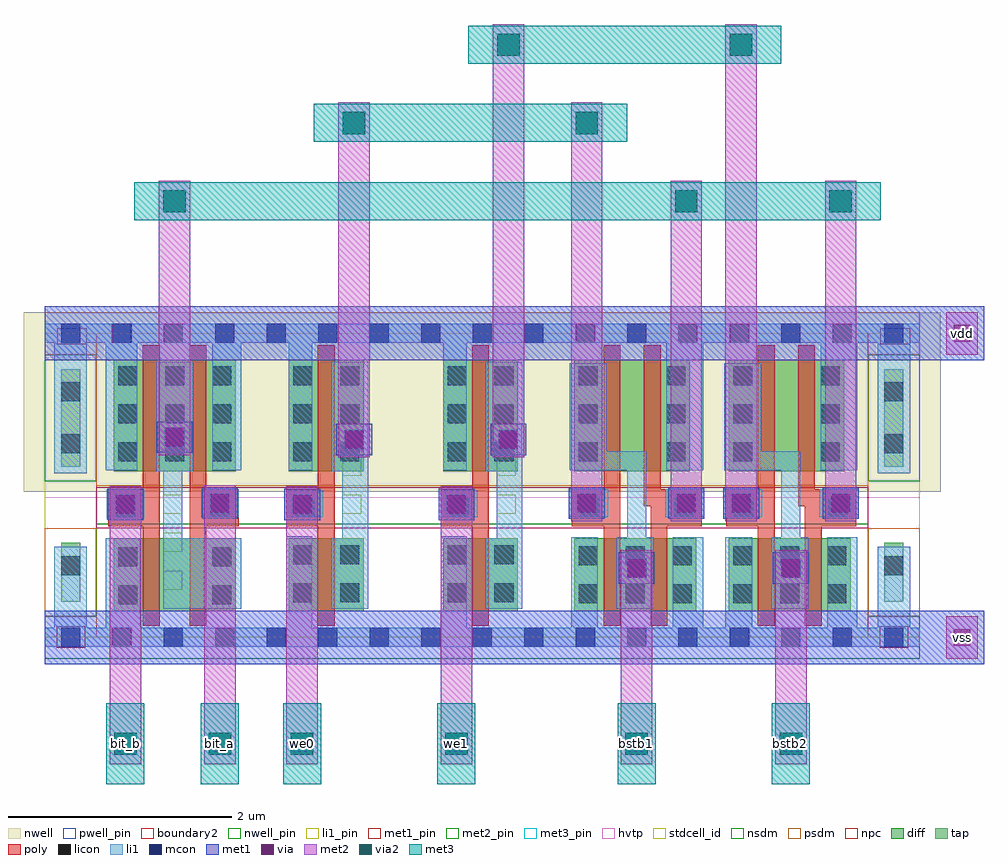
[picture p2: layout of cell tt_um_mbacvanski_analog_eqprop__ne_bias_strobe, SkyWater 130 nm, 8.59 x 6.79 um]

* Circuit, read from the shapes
.subckt tt_um_mbacvanski_analog_eqprop__ne_bias_strobe bit_a bit_b bstb1 bstb2 vdd vss we0 we1
XM1 n1 bit_b vss vss sky130_fd_pr__nfet_01v8 w=0.65 l=0.15
XM2 sky130_fd_sc_hd__nor2_1_0/A bit_a n1 vss sky130_fd_pr__nfet_01v8 w=0.65 l=0.15
XM3 sky130_fd_sc_hd__nor2_1_0/B we0 vss vss sky130_fd_pr__nfet_01v8 w=0.65 l=0.15
XM4 sky130_fd_sc_hd__nor2_1_1/B we1 vss vss sky130_fd_pr__nfet_01v8 w=0.65 l=0.15
XM5 bstb1 sky130_fd_sc_hd__nor2_1_0/B vss vss sky130_fd_pr__nfet_01v8 w=0.65 l=0.15
XM6 vss sky130_fd_sc_hd__nor2_1_0/A bstb1 vss sky130_fd_pr__nfet_01v8 w=0.65 l=0.15
XM7 bstb2 sky130_fd_sc_hd__nor2_1_1/B vss vss sky130_fd_pr__nfet_01v8 w=0.65 l=0.15
XM8 vss sky130_fd_sc_hd__nor2_1_0/A bstb2 vss sky130_fd_pr__nfet_01v8 w=0.65 l=0.15
XM9 sky130_fd_sc_hd__nor2_1_0/A bit_b vdd vdd sky130_fd_pr__pfet_01v8_hvt w=1 l=0.15
XM10 vdd bit_a sky130_fd_sc_hd__nor2_1_0/A vdd sky130_fd_pr__pfet_01v8_hvt w=1 l=0.15
XM11 sky130_fd_sc_hd__nor2_1_0/B we0 vdd vdd sky130_fd_pr__pfet_01v8_hvt w=1 l=0.15
XM12 sky130_fd_sc_hd__nor2_1_1/B we1 vdd vdd sky130_fd_pr__pfet_01v8_hvt w=1 l=0.15
XM13 n2 sky130_fd_sc_hd__nor2_1_0/B bstb1 vdd sky130_fd_pr__pfet_01v8_hvt w=1 l=0.15
XM14 vdd sky130_fd_sc_hd__nor2_1_0/A n2 vdd sky130_fd_pr__pfet_01v8_hvt w=1 l=0.15
XM15 n3 sky130_fd_sc_hd__nor2_1_1/B bstb2 vdd sky130_fd_pr__pfet_01v8_hvt w=1 l=0.15
XM16 vdd sky130_fd_sc_hd__nor2_1_0/A n3 vdd sky130_fd_pr__pfet_01v8_hvt w=1 l=0.15
.ends

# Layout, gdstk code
import gdstk
lib = gdstk.Library(unit=1e-6, precision=1e-09)
def R(c, l, rs):  # rectangles x0, y0, x1, y1
    for r in rs: c.add(gdstk.rectangle(r[:2], r[2:], *l))
def A(c, l, x, y, w, h, nx, ny, dx, dy):  # array of equal rectangles
    R(c, l, [(x+i*dx, y+j*dy, x+i*dx+w, y+j*dy+h) for i in range(nx) for j in range(ny)])
def P(c, l, *ps):  # polygons
    for p in ps: c.add(gdstk.Polygon(p, *l))
nwell_pin = (64, 16)
nwell = (64, 20)
diff = (65, 20)
tap = (65, 44)
poly = (66, 20)
licon = (66, 44)
li1_pin = (67, 16)
li1 = (67, 20)
mcon = (67, 44)
met1_pin = (68, 16)
met1 = (68, 20)
via = (68, 44)
met2_pin = (69, 16)
met2 = (69, 20)
via2 = (69, 44)
met3_pin = (70, 16)
met3 = (70, 20)
hvtp = (78, 44)
stdcell_id = (81, 4)
nsdm = (93, 44)
psdm = (94, 20)
npc = (95, 20)
pwell_pin = (122, 16)
boundary2 = (236, 0)

sky130_fd_sc_hd__nor2_1 = lib.new_cell('sky130_fd_sc_hd__nor2_1')
R(sky130_fd_sc_hd__nor2_1, nwell_pin, [(0.15,2.635,0.32,2.805)])
R(sky130_fd_sc_hd__nor2_1, nwell, [(-0.19,1.305,1.57,2.91)])
R(sky130_fd_sc_hd__nor2_1, diff, [(0.135,0.235,1.225,0.885), (0.135,1.485,1.165,2.485)])
P(sky130_fd_sc_hd__nor2_1, poly, [(0.395,0.105),(0.395,0.995),(0.11,0.995),(0.11,1.325),(0.395,1.325),(0.395,2.615),(0.545,2.615),(0.545,0.105)],
  [(0.815,0.105),(0.815,1.175),(0.755,1.175),(0.755,2.615),(0.905,2.615),(0.905,1.325),(1.275,1.325),(1.275,0.995),(0.965,0.995),(0.965,0.105)])
A(sky130_fd_sc_hd__nor2_1, licon, 0.175, 0.305, 0.17, 0.17, 3, 2, 0.42, 0.34)
A(sky130_fd_sc_hd__nor2_1, licon, 0.175, 1.575, 0.17, 0.17, 1, 3, 0, 0.34)
A(sky130_fd_sc_hd__nor2_1, licon, 0.955, 1.575, 0.17, 0.17, 1, 3, 0, 0.34)
R(sky130_fd_sc_hd__nor2_1, licon, [(0.185,1.075,0.355,1.245), (1.025,1.075,1.195,1.245)])
R(sky130_fd_sc_hd__nor2_1, li1_pin, [(0.145,1.105,0.315,1.275), (1.065,1.105,1.235,1.275), (0.15,2.125,0.32,2.295)])
R(sky130_fd_sc_hd__nor2_1, li1, [(0.085,1.075,0.435,1.325), (0.945,1.075,1.295,1.325)])
P(sky130_fd_sc_hd__nor2_1, li1, [(0.515,0.255),(0.515,0.895),(0.605,0.895),(0.605,1.495),(0.095,1.495),(0.095,2.45),(0.425,2.45),(0.425,1.665),(0.775,1.665),(0.775,0.895),(0.845,0.895),(0.845,0.255)],
  [(0.955,1.495),(0.955,2.635),(0,2.635),(0,2.805),(1.38,2.805),(1.38,2.635),(1.285,2.635),(1.285,1.495)],
  [(0,-0.085),(0,0.085),(0.105,0.085),(0.105,0.895),(0.345,0.895),(0.345,0.085),(1.015,0.085),(1.015,0.895),(1.285,0.895),(1.285,0.085),(1.38,0.085),(1.38,-0.085)])
A(sky130_fd_sc_hd__nor2_1, mcon, 0.145, -0.085, 0.17, 0.17, 3, 2, 0.46, 2.72)
R(sky130_fd_sc_hd__nor2_1, met1_pin, [(0.15,-0.085,0.32,0.085), (0.15,2.635,0.32,2.805)])
R(sky130_fd_sc_hd__nor2_1, hvtp, [(0,1.25,1.38,2.72)])
R(sky130_fd_sc_hd__nor2_1, stdcell_id, [(0,0,1.38,2.72)])
R(sky130_fd_sc_hd__nor2_1, nsdm, [(0,-0.19,1.38,1.015)])
R(sky130_fd_sc_hd__nor2_1, psdm, [(0,1.355,1.38,2.91)])
R(sky130_fd_sc_hd__nor2_1, npc, [(0,0.975,1.38,1.345)])
R(sky130_fd_sc_hd__nor2_1, pwell_pin, [(0.15,-0.085,0.32,0.085)])
R(sky130_fd_sc_hd__nor2_1, boundary2, [(0,0,1.38,2.72)])
sky130_fd_sc_hd__nor2_1.add(gdstk.FlexPath([(0,0),(1.38,0)], 0.48, ends="flush", simple_path=True, layer=68, datatype=20))  # met1
sky130_fd_sc_hd__nor2_1.add(gdstk.FlexPath([(0,2.72),(1.38,2.72)], 0.48, ends="flush", simple_path=True, layer=68, datatype=20))  # met1
sky130_fd_sc_hd__nor2_1.add(gdstk.Label('A', (1.15,1.19), layer=67, texttype=5))
sky130_fd_sc_hd__nor2_1.add(gdstk.Label('Y', (0.235,2.21), layer=67, texttype=5))
sky130_fd_sc_hd__nor2_1.add(gdstk.Label('B', (0.23,1.19), layer=67, texttype=5))
sky130_fd_sc_hd__nor2_1.add(gdstk.Label('VPWR', (0.23,2.72), layer=68, texttype=5))
sky130_fd_sc_hd__nor2_1.add(gdstk.Label('VGND', (0.23,0), layer=68, texttype=5))
sky130_fd_sc_hd__nor2_1.add(gdstk.Label('nor2_1', (0,0), layer=83, texttype=44))
sky130_fd_sc_hd__nor2_1.add(gdstk.Label('VPB', (0.235,2.72), layer=64, texttype=5))
sky130_fd_sc_hd__nor2_1.add(gdstk.Label('VNB', (0.235,0), layer=64, texttype=59))

sky130_fd_sc_hd__inv_1 = lib.new_cell('sky130_fd_sc_hd__inv_1')
R(sky130_fd_sc_hd__inv_1, nwell_pin, [(0.145,2.635,0.315,2.805), (0.145,2.635,0.315,2.805)])
R(sky130_fd_sc_hd__inv_1, nwell, [(-0.19,1.305,1.57,2.91)])
R(sky130_fd_sc_hd__inv_1, diff, [(0.34,0.235,1.01,0.885), (0.34,1.485,1.01,2.485)])
P(sky130_fd_sc_hd__inv_1, poly, [(0.6,0.105),(0.6,0.995),(0.32,0.995),(0.32,1.325),(0.6,1.325),(0.6,2.615),(0.75,2.615),(0.75,0.105)])
A(sky130_fd_sc_hd__inv_1, licon, 0.38, 1.575, 0.17, 0.17, 1, 3, 0, 0.34)
A(sky130_fd_sc_hd__inv_1, licon, 0.8, 1.575, 0.17, 0.17, 1, 3, 0, 0.34)
R(sky130_fd_sc_hd__inv_1, licon, [(0.38,0.315,0.55,0.485), (0.8,0.315,0.97,0.485), (0.38,0.655,0.55,0.825), (0.8,0.655,0.97,0.825), (0.4,1.075,0.57,1.245)])
R(sky130_fd_sc_hd__inv_1, li1_pin, [(0.36,1.105,0.53,1.275), (0.82,1.105,0.99,1.275), (0.82,1.445,0.99,1.615)])
R(sky130_fd_sc_hd__inv_1, li1, [(0,-0.085,1.38,0.085), (0.32,0.005,0.55,0.905), (0.32,1.075,0.65,1.315), (0.34,1.495,0.55,2.675), (0,2.635,1.38,2.805)])
P(sky130_fd_sc_hd__inv_1, li1, [(0.72,0.255),(0.72,0.885),(0.82,0.885),(0.82,1.485),(0.72,1.485),(0.72,2.465),(1.05,2.465),(1.05,0.255)])
A(sky130_fd_sc_hd__inv_1, mcon, 0.145, -0.085, 0.17, 0.17, 3, 2, 0.46, 2.72)
R(sky130_fd_sc_hd__inv_1, met1_pin, [(0.145,-0.085,0.315,0.085), (0.145,-0.085,0.315,0.085), (0.145,2.635,0.315,2.805), (0.145,2.635,0.315,2.805)])
R(sky130_fd_sc_hd__inv_1, hvtp, [(0,1.25,1.38,2.72)])
R(sky130_fd_sc_hd__inv_1, stdcell_id, [(0,0,1.38,2.72)])
R(sky130_fd_sc_hd__inv_1, nsdm, [(0,-0.19,1.38,1.015)])
R(sky130_fd_sc_hd__inv_1, psdm, [(0,1.355,1.38,2.91)])
R(sky130_fd_sc_hd__inv_1, npc, [(0,0.975,1.38,1.345)])
R(sky130_fd_sc_hd__inv_1, pwell_pin, [(0.145,-0.085,0.315,0.085), (0.145,-0.085,0.315,0.085)])
R(sky130_fd_sc_hd__inv_1, boundary2, [(0,0,1.38,2.72)])
sky130_fd_sc_hd__inv_1.add(gdstk.FlexPath([(0,0),(1.38,0)], 0.48, ends="flush", simple_path=True, layer=68, datatype=20))  # met1
sky130_fd_sc_hd__inv_1.add(gdstk.FlexPath([(0,2.72),(1.38,2.72)], 0.48, ends="flush", simple_path=True, layer=68, datatype=20))  # met1
sky130_fd_sc_hd__inv_1.add(gdstk.Label('A', (0.445,1.19), layer=67, texttype=5))
sky130_fd_sc_hd__inv_1.add(gdstk.Label('Y', (0.905,1.19), layer=67, texttype=5))
sky130_fd_sc_hd__inv_1.add(gdstk.Label('Y', (0.905,1.53), layer=67, texttype=5))
sky130_fd_sc_hd__inv_1.add(gdstk.Label('VPWR', (0.23,2.72), layer=68, texttype=5))
sky130_fd_sc_hd__inv_1.add(gdstk.Label('VGND', (0.23,0), layer=68, texttype=5))
sky130_fd_sc_hd__inv_1.add(gdstk.Label('inv_1', (0,0), layer=83, texttype=44))
sky130_fd_sc_hd__inv_1.add(gdstk.Label('VPB', (0.23,2.72), layer=64, texttype=5))
sky130_fd_sc_hd__inv_1.add(gdstk.Label('VNB', (0.23,0), layer=64, texttype=59))

sky130_fd_sc_hd__nand2_1 = lib.new_cell('sky130_fd_sc_hd__nand2_1')
R(sky130_fd_sc_hd__nand2_1, nwell_pin, [(0.14,2.635,0.31,2.805)])
R(sky130_fd_sc_hd__nand2_1, nwell, [(-0.19,1.305,1.57,2.91)])
R(sky130_fd_sc_hd__nand2_1, diff, [(0.155,0.235,1.245,0.885), (0.155,1.485,1.245,2.485)])
P(sky130_fd_sc_hd__nand2_1, poly, [(0.415,0.105),(0.415,0.995),(0.105,0.995),(0.105,1.325),(0.415,1.325),(0.415,2.615),(0.565,2.615),(0.565,0.105)],
  [(0.835,0.105),(0.835,2.615),(0.985,2.615),(0.985,1.325),(1.275,1.325),(1.275,0.995),(0.985,0.995),(0.985,0.105)])
A(sky130_fd_sc_hd__nand2_1, licon, 0.195, 1.575, 0.17, 0.17, 3, 3, 0.42, 0.34)
R(sky130_fd_sc_hd__nand2_1, licon, [(0.195,0.295,0.365,0.465), (1.035,0.295,1.205,0.465), (0.195,0.635,0.365,0.805), (1.035,0.635,1.205,0.805), (0.18,1.075,0.35,1.245), (1.02,1.075,1.19,1.245)])
A(sky130_fd_sc_hd__nand2_1, li1_pin, 0.14, 1.105, 0.17, 0.17, 3, 1, 0.46, 0)
R(sky130_fd_sc_hd__nand2_1, li1_pin, [(0.6,0.425,0.77,0.595), (0.6,0.765,0.77,0.935)])
R(sky130_fd_sc_hd__nand2_1, li1, [(0.095,1.055,0.43,1.325), (0.94,1.075,1.275,1.325)])
P(sky130_fd_sc_hd__nand2_1, li1, [(0.6,0.255),(0.6,1.485),(0.535,1.485),(0.535,2.465),(0.865,2.465),(0.865,1.485),(0.77,1.485),(0.77,0.885),(1.295,0.885),(1.295,0.255)],
  [(0.085,1.495),(0.085,2.635),(0,2.635),(0,2.805),(1.38,2.805),(1.38,2.635),(1.295,2.635),(1.295,1.495),(1.035,1.495),(1.035,2.635),(0.365,2.635),(0.365,1.495)],
  [(0,-0.085),(0,0.085),(0.085,0.085),(0.085,0.885),(0.395,0.885),(0.395,0.085),(1.38,0.085),(1.38,-0.085)])
A(sky130_fd_sc_hd__nand2_1, mcon, 0.145, -0.085, 0.17, 0.17, 3, 2, 0.46, 2.72)
R(sky130_fd_sc_hd__nand2_1, met1_pin, [(0.14,-0.085,0.31,0.085), (0.14,2.635,0.31,2.805)])
R(sky130_fd_sc_hd__nand2_1, hvtp, [(0,1.25,1.38,2.72)])
R(sky130_fd_sc_hd__nand2_1, stdcell_id, [(0,0,1.38,2.72)])
R(sky130_fd_sc_hd__nand2_1, nsdm, [(0,-0.19,1.38,1.015)])
R(sky130_fd_sc_hd__nand2_1, psdm, [(0,1.355,1.38,2.91)])
R(sky130_fd_sc_hd__nand2_1, npc, [(0,0.975,1.38,1.345)])
R(sky130_fd_sc_hd__nand2_1, pwell_pin, [(0.14,-0.085,0.31,0.085)])
R(sky130_fd_sc_hd__nand2_1, boundary2, [(0,0,1.38,2.72)])
sky130_fd_sc_hd__nand2_1.add(gdstk.FlexPath([(0,0),(1.38,0)], 0.48, ends="flush", simple_path=True, layer=68, datatype=20))  # met1
sky130_fd_sc_hd__nand2_1.add(gdstk.FlexPath([(0,2.72),(1.38,2.72)], 0.48, ends="flush", simple_path=True, layer=68, datatype=20))  # met1
sky130_fd_sc_hd__nand2_1.add(gdstk.Label('A', (1.145,1.19), layer=67, texttype=5))
sky130_fd_sc_hd__nand2_1.add(gdstk.Label('B', (0.225,1.19), layer=67, texttype=5))
sky130_fd_sc_hd__nand2_1.add(gdstk.Label('Y', (0.685,0.51), layer=67, texttype=5))
sky130_fd_sc_hd__nand2_1.add(gdstk.Label('Y', (0.685,0.85), layer=67, texttype=5))
sky130_fd_sc_hd__nand2_1.add(gdstk.Label('Y', (0.685,1.19), layer=67, texttype=5))
sky130_fd_sc_hd__nand2_1.add(gdstk.Label('VPWR', (0.225,2.72), layer=68, texttype=5))
sky130_fd_sc_hd__nand2_1.add(gdstk.Label('VGND', (0.23,0), layer=68, texttype=5))
sky130_fd_sc_hd__nand2_1.add(gdstk.Label('nand2_1', (0,0), layer=83, texttype=44))
sky130_fd_sc_hd__nand2_1.add(gdstk.Label('VPB', (0.225,2.72), layer=64, texttype=5))
sky130_fd_sc_hd__nand2_1.add(gdstk.Label('VNB', (0.225,0), layer=64, texttype=59))

sky130_fd_sc_hd__tapvpwr = lib.new_cell('sky130_fd_sc_hd__tapvpwrvgnd_1')
R(sky130_fd_sc_hd__tapvpwr, nwell, [(-0.19,1.305,0.65,2.91)])
R(sky130_fd_sc_hd__tapvpwr, tap, [(0.145,0.32,0.315,0.845), (0.145,1.525,0.315,2.4)])
R(sky130_fd_sc_hd__tapvpwr, licon, [(0.145,0.555,0.315,0.725), (0.145,1.645,0.315,1.815), (0.145,2.11,0.315,2.28)])
R(sky130_fd_sc_hd__tapvpwr, li1, [(0,-0.085,0.46,0.085), (0.085,0,0.375,0.81), (0.085,1.47,0.375,2.72), (0,2.635,0.46,2.805)])
R(sky130_fd_sc_hd__tapvpwr, mcon, [(0.145,-0.085,0.315,0.085), (0.145,2.635,0.315,2.805)])
R(sky130_fd_sc_hd__tapvpwr, met1_pin, [(0.105,-0.09,0.36,0.1), (0.11,2.62,0.375,2.765)])
R(sky130_fd_sc_hd__tapvpwr, met1, [(0,-0.24,0.46,0.24), (0,2.48,0.46,2.96)])
R(sky130_fd_sc_hd__tapvpwr, hvtp, [(0,1.25,0.46,2.72)])
R(sky130_fd_sc_hd__tapvpwr, stdcell_id, [(0,0,0.46,2.72)])
R(sky130_fd_sc_hd__tapvpwr, nsdm, [(0,-0.19,0.46,0.19), (0,1.395,0.46,2.53)])
R(sky130_fd_sc_hd__tapvpwr, psdm, [(0,0.19,0.46,0.975), (0,2.53,0.46,2.91)])
sky130_fd_sc_hd__tapvpwr.add(gdstk.Label('VGND', (0.23,0), layer=68, texttype=5))
sky130_fd_sc_hd__tapvpwr.add(gdstk.Label('VPWR', (0.23,2.72), layer=68, texttype=5))
sky130_fd_sc_hd__tapvpwr.add(gdstk.Label('tapvpwrvgnd_1', (0,0), layer=83, texttype=44))

tt_um_mbacvanski_analog_ = lib.new_cell('tt_um_mbacvanski_analog_eqprop__ne_bias_strobe')
R(tt_um_mbacvanski_analog_, mcon, [(5.205,0.535,5.375,0.705), (6.585,0.535,6.755,0.705), (0.635,1.105,0.805,1.275), (2.215,1.105,2.385,1.275), (3.595,1.105,3.765,1.275), (1.48,1.115,1.65,1.285), (4.76,1.115,4.93,1.285), (5.65,1.115,5.82,1.285), (6.14,1.115,6.31,1.285), (7.03,1.115,7.2,1.285), (2.68,1.685,2.85,1.855), (4.06,1.685,4.23,1.855), (1.075,1.705,1.245,1.875)])
R(tt_um_mbacvanski_analog_, met1, [(0,-0.24,7.82,0.24), (7.82,-0.24,8.4,0.24), (5.13,0.48,5.45,0.76), (6.51,0.48,6.83,0.76), (0.56,1.05,0.88,1.33), (2.14,1.05,2.46,1.33), (3.52,1.05,3.84,1.33), (1.405,1.06,1.725,1.34), (4.685,1.06,5.005,1.34), (5.575,1.06,5.895,1.34), (6.065,1.06,6.385,1.34), (6.955,1.06,7.275,1.34), (2.605,1.63,2.925,1.91), (3.985,1.63,4.305,1.91), (1,1.65,1.32,1.93), (0,2.48,7.82,2.96), (7.82,2.48,8.4,2.96)])
R(tt_um_mbacvanski_analog_, via, [(8.125,-0.075,8.275,0.075), (5.215,0.545,5.365,0.695), (6.595,0.545,6.745,0.695), (0.645,1.115,0.795,1.265), (2.225,1.115,2.375,1.265), (3.605,1.115,3.755,1.265), (1.49,1.125,1.64,1.275), (4.77,1.125,4.92,1.275), (5.66,1.125,5.81,1.275), (6.15,1.125,6.3,1.275), (7.04,1.125,7.19,1.275), (2.69,1.695,2.84,1.845), (4.07,1.695,4.22,1.845), (1.085,1.715,1.235,1.865), (8.125,2.645,8.275,2.795)])
R(tt_um_mbacvanski_analog_, met2_pin, [(8.13,-0.07,8.27,0.07), (8.13,2.65,8.27,2.79)])
R(tt_um_mbacvanski_analog_, met2, [(0.58,-1.135,0.86,1.35), (1.425,-1.135,1.705,1.36), (2.16,-1.135,2.44,1.35), (3.54,-1.135,3.82,1.35), (5.15,-1.135,5.43,0.78), (6.53,-1.135,6.81,0.78), (8.06,-0.19,8.34,0.19), (5.15,0.46,5.43,0.78), (6.53,0.46,6.81,0.78), (0.58,1.03,0.86,1.35), (2.16,1.03,2.44,1.35), (3.54,1.03,3.82,1.35), (1.425,1.04,1.705,1.36), (4.705,1.04,4.985,4.785), (4.705,1.04,4.985,1.36), (5.595,1.04,5.875,4.085), (5.595,1.04,5.875,1.36), (6.085,1.04,6.365,5.485), (6.085,1.04,6.365,1.36), (6.975,1.04,7.255,4.085), (6.975,1.04,7.255,1.36), (2.625,1.61,2.905,4.785), (2.625,1.61,2.905,1.93), (4.005,1.61,4.285,5.485), (4.005,1.61,4.285,1.93), (1.02,1.63,1.3,4.085), (1.02,1.63,1.3,1.95), (8.06,2.53,8.34,2.91)])
R(tt_um_mbacvanski_analog_, via2, [(0.62,-1.05,0.82,-0.85), (1.465,-1.05,1.665,-0.85), (2.2,-1.05,2.4,-0.85), (3.58,-1.05,3.78,-0.85), (5.19,-1.05,5.39,-0.85), (6.57,-1.05,6.77,-0.85), (1.06,3.8,1.26,4), (5.635,3.8,5.835,4), (7.015,3.8,7.215,4), (2.665,4.5,2.865,4.7), (4.745,4.5,4.945,4.7), (4.045,5.2,4.245,5.4), (6.125,5.2,6.325,5.4)])
R(tt_um_mbacvanski_analog_, met3_pin, [(0.65,-1.02,0.79,-0.88), (1.495,-1.02,1.635,-0.88), (2.23,-1.02,2.37,-0.88), (3.61,-1.02,3.75,-0.88), (5.22,-1.02,5.36,-0.88), (6.6,-1.02,6.74,-0.88)])
R(tt_um_mbacvanski_analog_, met3, [(0.55,-1.31,0.89,-0.59), (1.395,-1.31,1.735,-0.59), (2.13,-1.31,2.47,-0.59), (3.51,-1.31,3.85,-0.59), (5.12,-1.31,5.46,-0.59), (6.5,-1.31,6.84,-0.59), (0.8,3.73,7.475,4.07), (0.8,3.73,1.52,4.07), (5.375,3.73,6.095,4.07), (6.755,3.73,7.475,4.07), (2.405,4.43,5.205,4.77), (2.405,4.43,3.125,4.77), (4.485,4.43,5.205,4.77), (3.785,5.13,6.585,5.47), (3.785,5.13,4.505,5.47), (5.865,5.13,6.585,5.47)])
tt_um_mbacvanski_analog_.add(gdstk.Reference(sky130_fd_sc_hd__nor2_1, (4.6,0)))
tt_um_mbacvanski_analog_.add(gdstk.Reference(sky130_fd_sc_hd__nor2_1, (5.98,0)))
tt_um_mbacvanski_analog_.add(gdstk.Reference(sky130_fd_sc_hd__inv_1, (1.84,0)))
tt_um_mbacvanski_analog_.add(gdstk.Reference(sky130_fd_sc_hd__inv_1, (3.22,0)))
tt_um_mbacvanski_analog_.add(gdstk.Reference(sky130_fd_sc_hd__nand2_1, (0.46,0)))
tt_um_mbacvanski_analog_.add(gdstk.Reference(sky130_fd_sc_hd__tapvpwr, (0,0)))
tt_um_mbacvanski_analog_.add(gdstk.Reference(sky130_fd_sc_hd__tapvpwr, (7.36,0)))
tt_um_mbacvanski_analog_.add(gdstk.Label('vss', (8.2,0), layer=69, texttype=5))
tt_um_mbacvanski_analog_.add(gdstk.Label('vdd', (8.2,2.72), layer=69, texttype=5))
tt_um_mbacvanski_analog_.add(gdstk.Label('bstb1', (5.29,-0.95), layer=70, texttype=5))
tt_um_mbacvanski_analog_.add(gdstk.Label('we1', (3.68,-0.95), layer=70, texttype=5))
tt_um_mbacvanski_analog_.add(gdstk.Label('bstb2', (6.67,-0.95), layer=70, texttype=5))
tt_um_mbacvanski_analog_.add(gdstk.Label('we0', (2.3,-0.95), layer=70, texttype=5))
tt_um_mbacvanski_analog_.add(gdstk.Label('bit_b', (0.72,-0.95), layer=70, texttype=5))
tt_um_mbacvanski_analog_.add(gdstk.Label('bit_a', (1.565,-0.95), layer=70, texttype=5))

lib.write_gds('tt_um_mbacvanski_analog_eqprop__ne_bias_strobe.gds')
